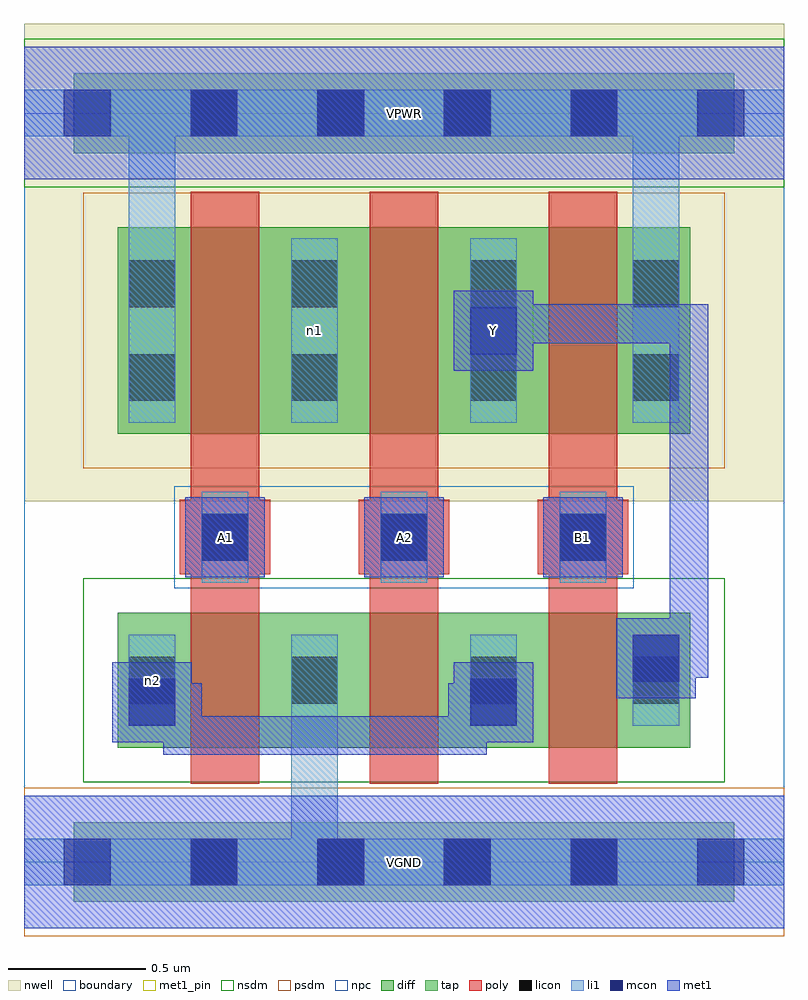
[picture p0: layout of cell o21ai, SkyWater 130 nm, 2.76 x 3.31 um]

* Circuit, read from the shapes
.subckt o21ai A1 A2 B1 VGND VPWR Y n1 n2
XM1 VGND A1 n2 VGND sky130_fd_pr__nfet_01v8 w=0.49 l=0.25
XM2 n2 A2 VGND VGND sky130_fd_pr__nfet_01v8 w=0.49 l=0.25
XM3 Y B1 n2 VGND sky130_fd_pr__nfet_01v8 w=0.49 l=0.25
XM4 n1 A1 VPWR VPWR sky130_fd_pr__pfet_01v8 w=0.75 l=0.25
XM5 Y A2 n1 VPWR sky130_fd_pr__pfet_01v8 w=0.75 l=0.25
XM6 VPWR B1 Y VPWR sky130_fd_pr__pfet_01v8 w=0.75 l=0.25
.ends

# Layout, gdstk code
import gdstk
lib = gdstk.Library(unit=1e-6, precision=1e-09)
def R(c, l, rs):  # rectangles x0, y0, x1, y1
    for r in rs: c.add(gdstk.rectangle(r[:2], r[2:], *l))
def A(c, l, x, y, w, h, nx, ny, dx, dy):  # array of equal rectangles
    R(c, l, [(x+i*dx, y+j*dy, x+i*dx+w, y+j*dy+h) for i in range(nx) for j in range(ny)])
nwell = (64, 20)
diff = (65, 20)
tap = (65, 44)
poly = (66, 20)
licon = (66, 44)
li1 = (67, 20)
mcon = (67, 44)
met1_pin = (68, 16)
met1 = (68, 20)
nsdm = (93, 44)
psdm = (94, 20)
npc = (95, 20)
boundary = (235, 4)

o21ai = lib.new_cell('o21ai')
R(o21ai, nwell, [(0,1.31,2.76,3.045)])
R(o21ai, diff, [(0.34,0.415,2.42,0.905), (0.34,1.555,2.42,2.305)])
R(o21ai, tap, [(0.18,-0.145,2.58,0.145), (0.18,2.575,2.58,2.865)])
A(o21ai, poly, 0.605, 0.285, 0.25, 2.15, 3, 1, 0.65, 0)
A(o21ai, poly, 0.565, 1.045, 0.33, 0.27, 3, 1, 0.65, 0)
A(o21ai, licon, 0.605, -0.085, 0.17, 0.17, 4, 2, 0.46, 2.72)
A(o21ai, licon, 0.645, 1.095, 0.17, 0.17, 3, 1, 0.65, 0)
R(o21ai, licon, [(0.38,0.575,0.55,0.745), (0.97,0.575,1.14,0.745), (1.62,0.575,1.79,0.745), (2.21,0.575,2.38,0.745), (0.38,1.675,0.55,1.845), (0.97,1.675,1.14,1.845), (1.62,1.675,1.79,1.845), (2.21,1.675,2.38,1.845), (0.38,2.015,0.55,2.185), (0.97,2.015,1.14,2.185), (1.62,2.015,1.79,2.185), (2.21,2.015,2.38,2.185)])
A(o21ai, li1, 0.645, 1.015, 0.17, 0.33, 3, 1, 0.65, 0)
R(o21ai, li1, [(0,-0.085,2.76,0.085), (0.97,-0.085,1.14,0.825), (0.38,0.495,0.55,0.825), (0.97,0.495,1.14,0.825), (1.62,0.495,1.79,0.825), (2.21,0.495,2.38,0.825), (0.38,1.595,0.55,2.265), (0.38,1.595,0.55,2.805), (0.97,1.595,1.14,2.265), (1.62,1.595,1.79,2.265), (2.21,1.595,2.38,2.265), (2.21,1.595,2.38,2.805), (0,2.635,2.76,2.805)])
A(o21ai, mcon, 0.145, -0.085, 0.17, 0.17, 6, 2, 0.46, 2.72)
A(o21ai, mcon, 0.645, 1.095, 0.17, 0.17, 3, 1, 0.65, 0)
R(o21ai, mcon, [(0.38,0.495,0.55,0.665), (1.62,0.495,1.79,0.665), (2.21,0.655,2.38,0.825), (1.62,1.845,1.79,2.015)])
A(o21ai, met1_pin, 0.585, 1.035, 0.29, 0.29, 3, 1, 0.65, 0)
R(o21ai, met1_pin, [(0,-0.24,2.76,0.24), (1.56,1.785,1.85,2.075), (0,2.48,2.76,2.96)])
A(o21ai, met1, 0.585, 1.035, 0.29, 0.29, 3, 1, 0.65, 0)
R(o21ai, met1, [(0,-0.24,2.76,0.24), (0.505,0.39,0.645,0.65), (0.505,0.39,1.68,0.53), (1.54,0.39,1.68,0.65), (0.32,0.435,0.61,0.725), (1.56,0.435,1.85,0.725), (0.395,0.51,0.645,0.65), (1.54,0.51,1.775,0.65), (2.15,0.595,2.44,0.885), (2.225,0.67,2.485,0.81), (2.345,0.67,2.485,0.99), (2.345,0.85,2.485,2.025), (1.56,1.785,1.85,2.075), (1.655,1.885,1.795,2.025), (1.655,1.885,2.485,2.025), (0,2.48,2.76,2.96)])
R(o21ai, nsdm, [(0.215,0.29,2.545,1.03), (0,2.45,2.76,2.99)])
R(o21ai, psdm, [(0,-0.27,2.76,0.27), (0.215,1.43,2.545,2.43)])
R(o21ai, npc, [(0.545,0.995,2.215,1.365)])
R(o21ai, boundary, [(0,0,2.76,2.72)])
o21ai.add(gdstk.Label('n2', (0.465,0.66), layer=67, texttype=5))
o21ai.add(gdstk.Label('n1', (1.055,1.93), layer=67, texttype=5))
o21ai.add(gdstk.Label('A1', (0.73,1.18), layer=68, texttype=5))
o21ai.add(gdstk.Label('A2', (1.38,1.18), layer=68, texttype=5))
o21ai.add(gdstk.Label('B1', (2.03,1.18), layer=68, texttype=5))
o21ai.add(gdstk.Label('Y', (1.705,1.93), layer=68, texttype=5))
o21ai.add(gdstk.Label('VPWR', (1.38,2.72), layer=68, texttype=5))
o21ai.add(gdstk.Label('VGND', (1.38,0), layer=68, texttype=5))
o21ai.add(gdstk.Label('A1', (0.73,1.18), layer=68, texttype=16))
o21ai.add(gdstk.Label('A2', (1.38,1.18), layer=68, texttype=16))
o21ai.add(gdstk.Label('B1', (2.03,1.18), layer=68, texttype=16))
o21ai.add(gdstk.Label('Y', (1.705,1.93), layer=68, texttype=16))
o21ai.add(gdstk.Label('VPWR', (1.38,2.72), layer=68, texttype=16))
o21ai.add(gdstk.Label('VGND', (1.38,0), layer=68, texttype=16))

lib.write_gds('o21ai.gds')
